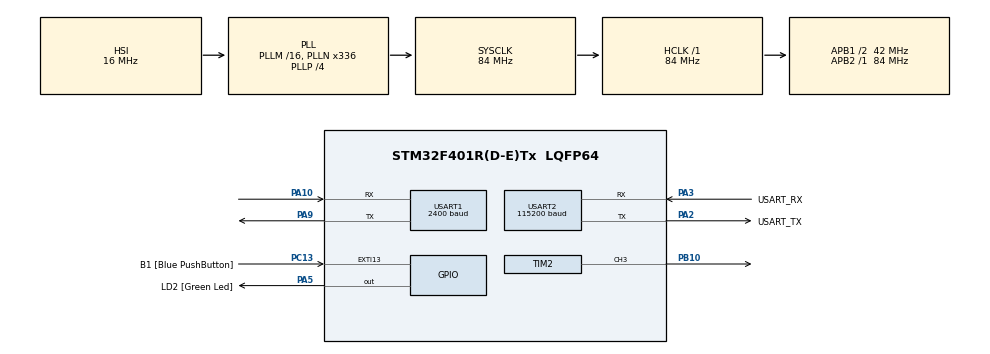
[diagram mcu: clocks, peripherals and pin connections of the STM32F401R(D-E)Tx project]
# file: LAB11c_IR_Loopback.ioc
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Mcu.Family=STM32F4
Mcu.Name=STM32F401R(D-E)Tx
Mcu.Package=LQFP64
NVIC.PriorityGroup=NVIC_PRIORITYGROUP_2
NVIC.TIM3_IRQn=true\:0\:0\:false\:false\:true\:true\:true
NVIC.USART1_IRQn=true\:3\:0\:true\:false\:true\:true\:true
NVIC.USART2_IRQn=true\:3\:0\:true\:false\:true\:true\:true
PA10.Mode=Asynchronous
PA10.Signal=USART1_RX
PA13.GPIO_Label=TMS
PA13.Mode=Serial_Wire
PA13.Signal=SYS_JTMS-SWDIO
PA14.GPIO_Label=TCK
PA14.Mode=Serial_Wire
PA14.Signal=SYS_JTCK-SWCLK
PA2.GPIO_Label=USART_TX
PA2.GPIO_Mode=GPIO_MODE_AF_PP
PA2.GPIO_PuPd=GPIO_NOPULL
PA2.GPIO_Speed=GPIO_SPEED_FREQ_LOW
PA2.Mode=Asynchronous
PA2.Signal=USART2_TX
PA3.GPIO_Label=USART_RX
PA3.GPIO_Mode=GPIO_MODE_AF_PP
PA3.GPIO_PuPd=GPIO_NOPULL
PA3.GPIO_Speed=GPIO_SPEED_FREQ_LOW
PA3.Mode=Asynchronous
PA3.Signal=USART2_RX
PA5.GPIO_Label=LD2 [Green Led]
PA5.GPIO_Mode=GPIO_MODE_OUTPUT_PP
PA5.GPIO_PuPd=GPIO_NOPULL
PA5.GPIO_Speed=GPIO_SPEED_FREQ_LOW
PA5.Signal=GPIO_Output
PA9.Mode=Asynchronous
PA9.Signal=USART1_TX
PB10.Signal=S_TIM2_CH3
PB3.GPIO_Label=SWO
PB3.Signal=SYS_JTDO-SWO
PC13-ANTI_TAMP.GPIO_Label=B1 [Blue PushButton]
PC13-ANTI_TAMP.GPIO_ModeDefaultEXTI=GPIO_MODE_IT_FALLING
PC13-ANTI_TAMP.GPIO_PuPd=GPIO_NOPULL
PC13-ANTI_TAMP.Signal=GPXTI13
PC14-OSC32_IN.Mode=LSE-External-Oscillator
PC14-OSC32_IN.Signal=RCC_OSC32_IN
PC15-OSC32_OUT.Mode=LSE-External-Oscillator
PC15-OSC32_OUT.Signal=RCC_OSC32_OUT
PH0\ -\ OSC_IN.Mode=HSE-External-Clock-Source
PH0\ -\ OSC_IN.Signal=RCC_OSC_IN
PH1\ -\ OSC_OUT.Mode=HSE-External-Clock-Source
PH1\ -\ OSC_OUT.Signal=RCC_OSC_OUT
ProjectManager.HeapSize=0x200
ProjectManager.StackSize=0x400
ProjectManager.TargetToolchain=STM32CubeIDE
RCC.48MHZClocksFreq_Value=48000000
RCC.AHBFreq_Value=84000000
RCC.APB1CLKDivider=RCC_HCLK_DIV2
RCC.APB1Freq_Value=42000000
RCC.APB1TimFreq_Value=84000000
RCC.APB2Freq_Value=84000000
RCC.APB2TimFreq_Value=84000000
RCC.CortexFreq_Value=84000000
RCC.HCLKFreq_Value=84000000
RCC.HSE_VALUE=8000000
RCC.HSI_VALUE=16000000
RCC.PLLN=336
RCC.PLLP=RCC_PLLP_DIV4
RCC.PLLQ=7
RCC.SYSCLKFreq_VALUE=84000000
RCC.SYSCLKSource=RCC_SYSCLKSOURCE_PLLCLK
RCC.VCOOutputFreq_Value=336000000
SH.S_TIM2_CH3.0=TIM2_CH3,PWM Generation3 CH3
TIM2.Channel-PWM\ Generation3\ CH3=TIM_CHANNEL_3
TIM2.Period=10-1
TIM2.Prescaler=220
TIM2.Pulse-PWM\ Generation3\ CH3=5
TIM3.Period=10-1
TIM3.Prescaler=437-1
USART1.BaudRate=2400
USART1.Parity=PARITY_ODD
USART1.VirtualMode=VM_ASYNC
USART1.WordLength=WORDLENGTH_8B
USART2.BaudRate=115200
USART2.VirtualMode=VM_ASYNC
USART2.WordLength=WORDLENGTH_8B
VP_TIM2_VS_ClockSourceINT.Mode=Internal
VP_TIM3_VS_ClockSourceINT.Mode=Internal
board=NUCLEO-F401RE

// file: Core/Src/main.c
/* USER CODE BEGIN Header */
/**
  ******************************************************************************
  * @file           : main.c
  * @brief          : Main program body
  ******************************************************************************
  * @attention
  *
  * <h2><center>&copy; Copyright (c) 2021 STMicroelectronics.
  * All rights reserved.</center></h2>
  *
  * This software component is licensed by ST under BSD 3-Clause license,
  * the "License"; You may not use this file except in compliance with the
  * License. You may obtain a copy of the License at:
  *                        opensource.org/licenses/BSD-3-Clause
  *
  ******************************************************************************
  */
/* USER CODE END Header */
#include "main.h"

/* USER CODE BEGIN PD */
#define MAX_MESSAGE_LENGTH 1

// QUEUE IMPLEMENTATION STOLEN FROM:
// https://www.programiz.com/dsa/circular-queue
#define QUEUE_SIZE 50
/* USER CODE END PD */

TIM_HandleTypeDef htim2;
TIM_HandleTypeDef htim3;

UART_HandleTypeDef huart1;
UART_HandleTypeDef huart2;

/* USER CODE BEGIN PV */

uint8_t uart_message;
uint8_t uart_rx;

uint8_t ir_message[MAX_MESSAGE_LENGTH];

uint8_t queue_items[QUEUE_SIZE];
int queue_front = -1;
int queue_rear = -1;

/* USER CODE END PV */

void SystemClock_Config(void);
static void MX_GPIO_Init(void);
static void MX_USART2_UART_Init(void);
static void MX_TIM2_Init(void);
static void MX_TIM3_Init(void);
static void MX_USART1_UART_Init(void);
/* USER CODE BEGIN PFP */
int queue_isFull();
int queue_isEmpty();
void queue_enQueue(int);
uint8_t queue_deQueue();
/* USER CODE END PFP */

/* USER CODE BEGIN 0 */

/* QUEUE FUNCTIONS */

// Check if the queue is full
int queue_isFull() {
  if ((queue_front == queue_rear + 1) || (queue_front == 0 && queue_rear == QUEUE_SIZE - 1)) return 1;
  return 0;
}

// Check if the queue is empty
int queue_isEmpty() {
  if (queue_front == -1) return 1;
  return 0;
}

// Adding an element
void queue_enQueue(int element) {
  if (queue_isFull())
    return;
  else {
    if (queue_front == -1) queue_front = 0;
    queue_rear = (queue_rear + 1) % QUEUE_SIZE;
    queue_items[queue_rear] = element;
    return;
  }
}

// Removing an element
uint8_t queue_deQueue() {
  uint8_t element;
  if (queue_isEmpty()) {
    return (0);
  } else {
    element = queue_items[queue_front];
    if (queue_front == queue_rear) {
      queue_front = -1;
      queue_rear = -1;
    }
    // Q has only one element, so we reset the
    // queue after dequeing it. ?
    else {
      queue_front = (queue_front + 1) % QUEUE_SIZE;
    }
    return (element);
  }
}

// Peek without removing
uint8_t queue_peek() {
  if (queue_isEmpty()) {
    return (0);
  } else {
    return (queue_items[queue_front]);
  }
}

// get queue size
int queue_getSize() {
  if (queue_front == -1) return 0;
  if (queue_front <= queue_rear) return (queue_rear - queue_front + 1);
  return (QUEUE_SIZE - queue_front + queue_rear + 1);
}

void HAL_TIM_PeriodElapsedCallback(TIM_HandleTypeDef *htim){
	if(htim->Instance == htim3.Instance){
		//static int message_index = 0;
		static int status = 0;
		switch (status){
		case 0:
			HAL_TIM_PWM_Start(&htim2, TIM_CHANNEL_3);
			break;
		case 9:
			HAL_TIM_PWM_Stop(&htim2, TIM_CHANNEL_3);
			break;
		default:
			if( ((queue_peek()>> (status-1)) & 0b1) == 1 ){
				HAL_TIM_PWM_Stop(&htim2, TIM_CHANNEL_3);
			}
			else{
				HAL_TIM_PWM_Start(&htim2, TIM_CHANNEL_3);
			}
		}rx
		if(status < 9){
			status++;
		}
		else{
			status = 0;
      queue_deQueue();
      if(queue_isEmpty()){
				HAL_TIM_Base_Stop_IT(&htim3);
      }
		}
	}
}

void HAL_UART_RxCpltCallback(UART_HandleTypeDef *huart){
  if(huart->Instance == huart1.Instance){
    HAL_UART_Transmit_IT(&huart2, &uart_message, sizeof(uart_message));
    HAL_UART_Receive_IT(&huart1, &uart_message, 1);
  }
  else if(huart->Instance == huart2.Instance){
    queue_enQueue(uart_rx);
    HAL_UART_Receive_IT(&huart2, &uart_rx, 1);

    // if it's the first value after a break, start the timer
    if(queue_getSize() == 1){
      HAL_TIM_Base_Start_IT(&htim3);
    }
  }
}
/* USER CODE END 0 */

int main(void)
{

  /* MCU Configuration--------------------------------------------------------*/

  /* Reset of all peripherals, Initializes the Flash interface and the Systick. */
  HAL_Init();

  /* Configure the system clock */
  SystemClock_Config();

  /* Initialize all configured peripherals */
  MX_GPIO_Init();
  MX_USART2_UART_Init();
  MX_TIM2_Init();
  MX_TIM3_Init();
  MX_USART1_UART_Init();
  /* USER CODE BEGIN 2 */
  HAL_TIM_Base_Start_IT(&htim3);

  HAL_UART_Receive_IT(&huart1, &uart_message, 1);
  HAL_UART_Receive_IT(&huart2, &uart_rx, 1);
  /* USER CODE END 2 */

  /* Infinite loop */
  while (1)
  {

  }
}

void SystemClock_Config(void)
{
  RCC_OscInitTypeDef RCC_OscInitStruct = {0};
  RCC_ClkInitTypeDef RCC_ClkInitStruct = {0};

  /** Configure the main internal regulator output voltage
  */
  __HAL_RCC_PWR_CLK_ENABLE();
  __HAL_PWR_VOLTAGESCALING_CONFIG(PWR_REGULATOR_VOLTAGE_SCALE2);
  /** Initializes the RCC Oscillators according to the specified parameters
  * in the RCC_OscInitTypeDef structure.
  */
  RCC_OscInitStruct.OscillatorType = RCC_OSCILLATORTYPE_HSI;
  RCC_OscInitStruct.HSIState = RCC_HSI_ON;
  RCC_OscInitStruct.HSICalibrationValue = RCC_HSICALIBRATION_DEFAULT;
  RCC_OscInitStruct.PLL.PLLState = RCC_PLL_ON;
  RCC_OscInitStruct.PLL.PLLSource = RCC_PLLSOURCE_HSI;
  RCC_OscInitStruct.PLL.PLLM = 16;
  RCC_OscInitStruct.PLL.PLLN = 336;
  RCC_OscInitStruct.PLL.PLLP = RCC_PLLP_DIV4;
  RCC_OscInitStruct.PLL.PLLQ = 7;
  if (HAL_RCC_OscConfig(&RCC_OscInitStruct) != HAL_OK)
  {
    Error_Handler();
  }
  /** Initializes the CPU, AHB and APB buses clocks
  */
  RCC_ClkInitStruct.ClockType = RCC_CLOCKTYPE_HCLK|RCC_CLOCKTYPE_SYSCLK
                              |RCC_CLOCKTYPE_PCLK1|RCC_CLOCKTYPE_PCLK2;
  RCC_ClkInitStruct.SYSCLKSource = RCC_SYSCLKSOURCE_PLLCLK;
  RCC_ClkInitStruct.AHBCLKDivider = RCC_SYSCLK_DIV1;
  RCC_ClkInitStruct.APB1CLKDivider = RCC_HCLK_DIV2;
  RCC_ClkInitStruct.APB2CLKDivider = RCC_HCLK_DIV1;

  if (HAL_RCC_ClockConfig(&RCC_ClkInitStruct, FLASH_LATENCY_2) != HAL_OK)
  {
    Error_Handler();
  }
}

static void MX_TIM2_Init(void)
{

  TIM_ClockConfigTypeDef sClockSourceConfig = {0};
  TIM_MasterConfigTypeDef sMasterConfig = {0};
  TIM_OC_InitTypeDef sConfigOC = {0};

  htim2.Instance = TIM2;
  htim2.Init.Prescaler = 220;
  htim2.Init.CounterMode = TIM_COUNTERMODE_UP;
  htim2.Init.Period = 10-1;
  htim2.Init.ClockDivision = TIM_CLOCKDIVISION_DIV1;
  htim2.Init.AutoReloadPreload = TIM_AUTORELOAD_PRELOAD_DISABLE;
  if (HAL_TIM_Base_Init(&htim2) != HAL_OK)
  {
    Error_Handler();
  }
  sClockSourceConfig.ClockSource = TIM_CLOCKSOURCE_INTERNAL;
  if (HAL_TIM_ConfigClockSource(&htim2, &sClockSourceConfig) != HAL_OK)
  {
    Error_Handler();
  }
  if (HAL_TIM_PWM_Init(&htim2) != HAL_OK)
  {
    Error_Handler();
  }
  sMasterConfig.MasterOutputTrigger = TIM_TRGO_RESET;
  sMasterConfig.MasterSlaveMode = TIM_MASTERSLAVEMODE_DISABLE;
  if (HAL_TIMEx_MasterConfigSynchronization(&htim2, &sMasterConfig) != HAL_OK)
  {
    Error_Handler();
  }
  sConfigOC.OCMode = TIM_OCMODE_PWM1;
  sConfigOC.Pulse = 5;
  sConfigOC.OCPolarity = TIM_OCPOLARITY_HIGH;
  sConfigOC.OCFastMode = TIM_OCFAST_DISABLE;
  if (HAL_TIM_PWM_ConfigChannel(&htim2, &sConfigOC, TIM_CHANNEL_3) != HAL_OK)
  {
    Error_Handler();
  }
  HAL_TIM_MspPostInit(&htim2);

}

static void MX_TIM3_Init(void)
{

  TIM_ClockConfigTypeDef sClockSourceConfig = {0};
  TIM_MasterConfigTypeDef sMasterConfig = {0};

  htim3.Instance = TIM3;
  htim3.Init.Prescaler = 437-1;
  htim3.Init.CounterMode = TIM_COUNTERMODE_UP;
  htim3.Init.Period = 10-1;
  htim3.Init.ClockDivision = TIM_CLOCKDIVISION_DIV1;
  htim3.Init.AutoReloadPreload = TIM_AUTORELOAD_PRELOAD_DISABLE;
  if (HAL_TIM_Base_Init(&htim3) != HAL_OK)
  {
    Error_Handler();
  }
  sClockSourceConfig.ClockSource = TIM_CLOCKSOURCE_INTERNAL;
  if (HAL_TIM_ConfigClockSource(&htim3, &sClockSourceConfig) != HAL_OK)
  {
    Error_Handler();
  }
  sMasterConfig.MasterOutputTrigger = TIM_TRGO_RESET;
  sMasterConfig.MasterSlaveMode = TIM_MASTERSLAVEMODE_DISABLE;
  if (HAL_TIMEx_MasterConfigSynchronization(&htim3, &sMasterConfig) != HAL_OK)
  {
    Error_Handler();
  }

}

static void MX_USART1_UART_Init(void)
{

  huart1.Instance = USART1;
  huart1.Init.BaudRate = 2400;
  huart1.Init.WordLength = UART_WORDLENGTH_8B;
  huart1.Init.StopBits = UART_STOPBITS_1;
  huart1.Init.Parity = UART_PARITY_ODD;
  huart1.Init.Mode = UART_MODE_TX_RX;
  huart1.Init.HwFlowCtl = UART_HWCONTROL_NONE;
  huart1.Init.OverSampling = UART_OVERSAMPLING_16;
  if (HAL_UART_Init(&huart1) != HAL_OK)
  {
    Error_Handler();
  }

}

static void MX_USART2_UART_Init(void)
{

  huart2.Instance = USART2;
  huart2.Init.BaudRate = 115200;
  huart2.Init.WordLength = UART_WORDLENGTH_8B;
  huart2.Init.StopBits = UART_STOPBITS_1;
  huart2.Init.Parity = UART_PARITY_NONE;
  huart2.Init.Mode = UART_MODE_TX_RX;
  huart2.Init.HwFlowCtl = UART_HWCONTROL_NONE;
  huart2.Init.OverSampling = UART_OVERSAMPLING_16;
  if (HAL_UART_Init(&huart2) != HAL_OK)
  {
    Error_Handler();
  }

}

static void MX_GPIO_Init(void)
{
  GPIO_InitTypeDef GPIO_InitStruct = {0};

  /* GPIO Ports Clock Enable */
  __HAL_RCC_GPIOC_CLK_ENABLE();
  __HAL_RCC_GPIOH_CLK_ENABLE();
  __HAL_RCC_GPIOA_CLK_ENABLE();
  __HAL_RCC_GPIOB_CLK_ENABLE();

  /*Configure GPIO pin Output Level */
  HAL_GPIO_WritePin(LD2_GPIO_Port, LD2_Pin, GPIO_PIN_RESET);

  /*Configure GPIO pin : B1_Pin */
  GPIO_InitStruct.Pin = B1_Pin;
  GPIO_InitStruct.Mode = GPIO_MODE_IT_FALLING;
  GPIO_InitStruct.Pull = GPIO_NOPULL;
  HAL_GPIO_Init(B1_GPIO_Port, &GPIO_InitStruct);

  /*Configure GPIO pin : LD2_Pin */
  GPIO_InitStruct.Pin = LD2_Pin;
  GPIO_InitStruct.Mode = GPIO_MODE_OUTPUT_PP;
  GPIO_InitStruct.Pull = GPIO_NOPULL;
  GPIO_InitStruct.Speed = GPIO_SPEED_FREQ_LOW;
  HAL_GPIO_Init(LD2_GPIO_Port, &GPIO_InitStruct);

}

void Error_Handler(void)
{
  __disable_irq();
  while (1)
  {
  }
}

/************************ (C) COPYRIGHT STMicroelectronics *****END OF FILE****/
